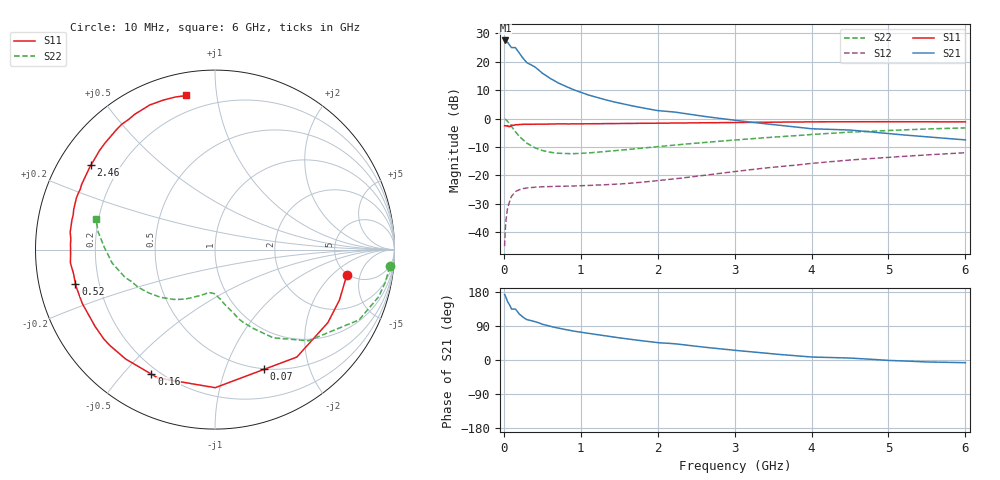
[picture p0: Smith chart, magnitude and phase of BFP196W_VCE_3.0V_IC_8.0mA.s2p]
! Infineon Technologies  Discrete & RF Semiconductors
! BFP196W
! VCE = 3.0 V,  IC = 8.0mA
! Common Emitter S-Parameters:  Jan 2016
# GHz  S  MA  R  50
!  f  S11  S21  S12  S22
! GHz  MAG  ANG  MAG  ANG  MAG  ANG  MAG  ANG
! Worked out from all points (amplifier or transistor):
!   210 points, 10 MHz to 6 GHz, reference 50 ohm
!   highest |S21| = 27.5 dB at 20 MHz (marker M1)
!   |S21| within 3 dB of that: start of sweep to 162.7 MHz
!   unconditionally stable (mu >= 1): 1.388 GHz to 3.127 GHz
!   at 185 MHz: K = 0.20, MSG = 24.4 dB, |S12| = -25.2 dB
!   at 1.52 GHz: K = 1.05, MAG = 12.9 dB, |S12| = -23.0 dB
!   at 6 GHz: K = 0.92, MSG = 2.3 dB, |S12| = -12.0 dB
!   S11 on the Smith chart (normalised r, x): 10 MHz: 4.84, -3.14; 70 MHz: 0.49, -1.37; 160 MHz: 0.17, -0.60; 520 MHz: 0.11, -0.12; 2.46 GHz: 0.10, +0.31; 6 GHz: 0.11, +0.83
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0.01  0.7479 -11.0  23.48 173.0  0.0057 81.7  0.9781 -5.5
0.02  0.7482 -22.1  23.66 169.0  0.0117 78.9  0.9664 -10.9
0.03  0.7491 -32.9  23.23 163.9  0.0171 75.2  0.9486 -16.1
0.05  0.7525 -52.7  21.95 153.6  0.0273 65.9  0.8932 -26.0
0.07  0.7211 -67.7  20 146.9  0.0332 57.0  0.8171 -32.4
0.1  0.7694 -89.9  17.72 134.4  0.0431 48.5  0.727 -44.3
0.15  0.7829 -114.0  17.72 134.4  0.052 37.9  0.5889 -56.6
0.16  0.7793 -117.0  16.95 132.2  0.0527 36.6  0.5679 -57.9
0.2  0.787 -129.2  14.2 121.2  0.0559 31.7  0.4872 -64.2
0.24  0.7926 -137.6  11.99 114.6  0.0582 28.1  0.4346 -68.8
0.3  0.7935 -147.3  9.609 106.4  0.0603 24.9  0.3683 -73.8
0.4  0.7979 -157.8  8.161 101.6  0.0621 21.8  0.3087 -80.1
0.52  0.8003 -166.3  6.051 93.4  0.0634 20.7  0.2709 -85.0
0.7  0.809 -174.7  4.281 84.2  0.0645 20.9  0.2456 -90.7
1.02  0.8067 175.3  2.828 72.7  0.0661 24.2  0.2454 -99.3
1.4  0.8134 166.1  2.011 61.2  0.0696 29.9  0.2697 -107.9
2.02  0.8271 153.6  1.375 45.4  0.0816 40.4  0.3226 -121.5
2.46  0.8366 145.6  1.166 37.3  0.0951 45.1  0.3655 -130.9
3.1  0.8548 134.5  0.901 23.7  0.1214 47.8  0.4299 -144.7
4.1  0.877 119.6  0.655 7.4  0.1676 44.7  0.5349 -165.1
5.1  0.8803 108.2  0.529 -1.8  0.2125 37.6  0.6256 177.0
6  0.8734 100.5  0.422 -7.1  0.2508 30.8  0.6849 165.6
